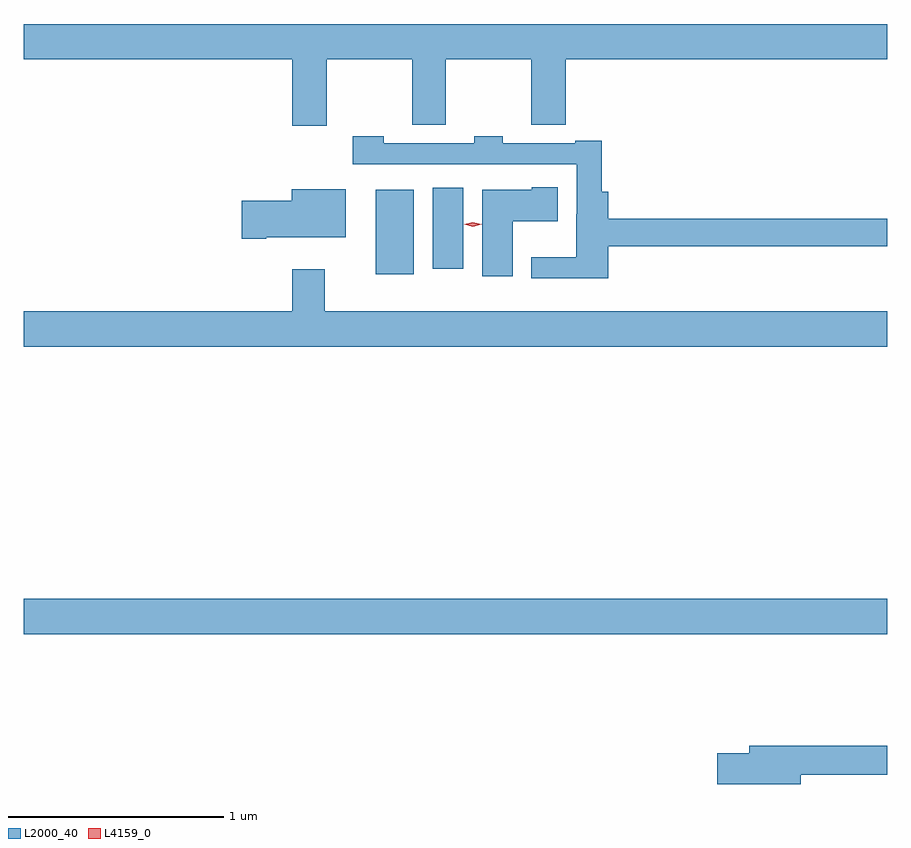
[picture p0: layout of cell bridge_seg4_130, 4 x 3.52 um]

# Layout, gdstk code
import gdstk
lib = gdstk.Library(unit=1e-6, precision=1e-09)
def R(c, l, rs):  # rectangles x0, y0, x1, y1
    for r in rs: c.add(gdstk.rectangle(r[:2], r[2:], *l))
def P(c, l, *ps):  # polygons
    for p in ps: c.add(gdstk.Polygon(p, *l))
L2000_40 = (2000, 40)
L4159_0 = (4159, 0)

bridge_seg4_130 = lib.new_cell('bridge_seg4_130')
R(bridge_seg4_130, L2000_40, [(204.748,794.156,208.748,794.32), (206.378,795.824,206.554,796.216), (206.642,795.849,206.785,796.225)])
P(bridge_seg4_130, L2000_40, [(206.151,796.82),(206.548,796.82),(206.548,796.516),(206.702,796.516),(206.702,796.82),(207.1,796.82),(207.1,796.516),(207.26,796.516),(207.26,796.82),(208.748,796.82),(208.748,796.984),(204.748,796.984),(204.748,796.82),(205.991,796.82),(205.991,796.512),(206.151,796.512)],
  [(207.455,795.954),(208.748,795.954),(208.748,796.082),(207.455,796.082),(207.455,796.207),(207.425,796.207),(207.425,796.444),(207.302,796.444),(207.302,796.431),(206.967,796.431),(206.967,796.464),(206.835,796.464),(206.835,796.431),(206.415,796.431),(206.415,796.464),(206.271,796.464),(206.271,796.335),(207.309,796.335),(207.309,796.103),(207.308,796.103),(207.308,795.904),(207.099,795.904),(207.099,795.806),(207.455,795.806)],
  [(207.013,796.07),(207.223,796.07),(207.223,796.228),(207.102,796.228),(207.102,796.216),(206.873,796.216),(206.873,795.816),(207.013,795.816)],
  [(205.87,795.995),(206.239,795.995),(206.239,796.219),(205.988,796.219),(205.988,796.166),(205.758,796.166),(205.758,795.988),(205.87,795.988)],
  [(208.748,795.652),(206.143,795.652),(206.143,795.847),(205.991,795.847),(205.991,795.652),(204.748,795.652),(204.748,795.488),(208.748,795.488)],
  [(208.348,793.504),(208.748,793.504),(208.748,793.64),(208.109,793.64),(208.109,793.604),(207.96,793.604),(207.96,793.462),(208.348,793.462)])
P(bridge_seg4_130, L4159_0, [(206.829,796.045),(206.788,796.055),(206.788,796.055),(206.788,796.056),(206.829,796.065),(206.87,796.055),(206.87,796.055),(206.87,796.055)])

lib.write_gds('bridge_seg4_130.gds')
